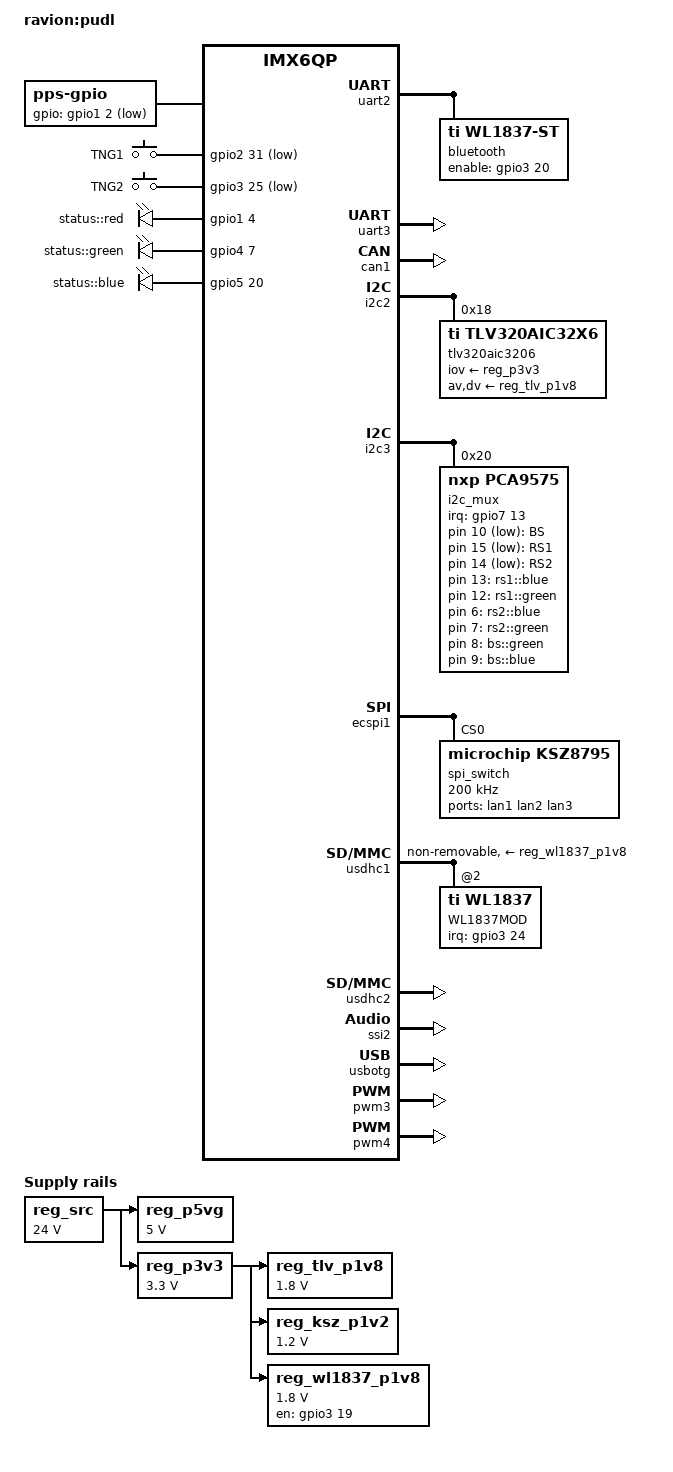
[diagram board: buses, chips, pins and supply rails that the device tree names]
/*
 * Copyright 2018 Radioavionica Corp.
 *
 * This program is free software; you can redistribute it and/or modify
 * it under the terms of the GNU General Public License version 2 as
 * published by the Free Software Foundation.
 *
 */

/*
 * [+] KSZ8795CLX drivers/net/phy/spi_ks8995.c
 * 	{ .compatible = "micrel,ksz8795" },
 * 	Documentation/devicetree/bindings/net/micrel-ks8995.txt
 * [+] WL1837
 * [+] LAN9514I-JZX USB
 * [+] MAX3245EETX uart1 uart3
 * [+] TLV320AIC3206
 *	"ti,tlv320aic32x4.yaml"
 *
 * [+] status led_red soDimm 188
 * [+] status led_green soDimm 190
 * [+] status led_blue soDomm 192
 * [+] soDimm 55 PPS
 * [+] soDimm 37 PTT1
 * [+] soDimm 29 PTT2 //fix keycode
 * [+] soDimm 27 BT_EN
 * [+] soDimm 25 WLAN_EN
 * [+] soDimm 23 WL_IRQ
 * soDimm 186 INT_Expander ????
 * soDimm 31 INT_Ether ????
 *
 * eth 187
 *
 */

/dts-v1/;
#include "imx6qp.dtsi"

#define SPI_CS_GPIO
#include "imx6qdl-ravion-v2.dtsi"

/ {
	model = "ravion:pudl";
	compatible = "ravion,imx6qp", "fsl,imx6qp";

	/*
	 * Device specific regulators
	 */
	reg_src: regulator-power { /* DA5 */
			compatible = "regulator-fixed";
			regulator-name = "BS_IN";
			// fix voltage
			regulator-min-microvolt = <24000000>;
			regulator-max-microvolt = <24000000>;
			regulator-boot-on;
			regulator-always-on;
	};

	reg_p5vg: regulator-p5v { /* DA4 */
			compatible = "regulator-fixed";
			regulator-name = "P5V";
			regulator-min-microvolt = <5000000>;
			regulator-max-microvolt = <5000000>;
			vin-supply = <&reg_src>;
			regulator-boot-on;
			regulator-always-on;
	};

	reg_p3v3: regulator-p3v3 { /* DA3 */
			compatible = "regulator-fixed";
			regulator-name = "P3V3";
			regulator-min-microvolt = <3300000>;
			regulator-max-microvolt = <3300000>;
			vin-supply = <&reg_src>;
			regulator-boot-on;
			regulator-always-on;
	};

	reg_tlv_p1v8: regulator-tlv { /* DA7 */
			compatible = "regulator-fixed";
			regulator-name = "TLV-P1V8";
			regulator-min-microvolt = <1800000>;
			regulator-max-microvolt = <1800000>;
			vin-supply = <&reg_p3v3>;
			regulator-boot-on;
			regulator-always-on;
	};

	reg_ksz_p1v2: regulator-ksz-p1v2 { /* DA8 */
			compatible = "regulator-fixed";
			regulator-name = "ksz-p1v2";
			regulator-min-microvolt = <1200000>;
			regulator-max-microvolt = <1200000>;
			vin-supply = <&reg_p3v3>;
			regulator-boot-on;
			regulator-always-on;
	};

	reg_wl1837_p1v8: regulator-wl1837-p1v8 { /* DA6 */
			compatible = "regulator-fixed";
			regulator-name = "wl1837-reg";
			regulator-min-microvolt = <1800000>;
			regulator-max-microvolt = <1800000>;
			vin-supply = <&reg_p3v3>;
			gpio = <&gpio3 19 GPIO_ACTIVE_HIGH>;	/* soDimm 25 */
			startup-delay-us = <70000>;
			enable-active-high;
	};

	sound-tlv320 {
		compatible = "fsl,imx-audio-tlv320aic32x4";
		model = "ravion-tlv320aic32x6";
		ssi-controller = <&ssi2>;
		audio-codec = <&tlv320aic3206>;
		audio-routing =
			"IN1_L", "Line In Jack",
			"IN1_R", "Line In Jack",
			"IN2_L", "Line In Jack",
			"IN2_R", "Line In Jack",
			"Headphone Jack", "HPL",
			"Headphone Jack", "HPR",
			"Line Out Jack", "LOL",
			"Line Out Jack", "LOR";
		mux-int-port = <2>;
		mux-ext-port = <5>;
	};

	pps {
		compatible = "pps-gpio";
		gpios	= <&gpio1  2 GPIO_ACTIVE_LOW>;		/* soDimm055 */
	};

	gpio-keys {
		compatible = "gpio-keys";

		PTT1 {
			label = "TNG1";
			gpios = <&gpio2 31 GPIO_ACTIVE_LOW>;	/* soDimm37 */
			linux,code = <KEY_F2>;
			debounce-interval = <100>;
			wakeup-source;
		};

		PTT2 {
			label = "TNG2";
			gpios = <&gpio3 25 GPIO_ACTIVE_LOW>;	/* soDimm29 */
			linux,code = <KEY_F10>; //fix keycode number
			debounce-interval = <100>;
			wakeup-source;
		};

//		button1 {
//			label = "BS";
//			gpios = <&i2c_mux 10 GPIO_ACTIVE_LOW>;
//			linux,code = <KEY_F17>;
//		};
//
//		button2 {
//			label = "RS1";
//			gpios = <&i2c_mux 15 GPIO_ACTIVE_LOW>;
//			linux,code = <KEY_F18>;
//		};
//
//		button3 {
//			label = "RS2";
//			gpios = <&i2c_mux 14 GPIO_ACTIVE_LOW>;
//			linux,code = <KEY_F19>;
//		};
	};

	gpio-keys-front-panel { //TODO: make interrupts work
		compatible = "gpio-keys-polled";
		poll-interval = <100>;
		button1 {
			label = "BS";
			gpios = <&i2c_mux 10 GPIO_ACTIVE_LOW>;
			linux,code = <KEY_F17>;
		};

		button2 {
			label = "RS1";
			gpios = <&i2c_mux 15 GPIO_ACTIVE_LOW>;
			linux,code = <KEY_F18>;
		};

		button3 {
			label = "RS2";
			gpios = <&i2c_mux 14 GPIO_ACTIVE_LOW>;
			linux,code = <KEY_F19>;
		};
	};

	gpio-leds {
		compatible = "gpio-leds";

		LED1 {
			label = "rs1::blue";
			gpios = <&i2c_mux 13 GPIO_ACTIVE_HIGH>;
			default-stat = "off";
		};

		LED2 {
			label = "rs1::green";
			gpios = <&i2c_mux 12 GPIO_ACTIVE_HIGH>;
			default-stat = "off";
		};

		LED3 {
			label = "rs2::blue";
			gpios = <&i2c_mux 6 GPIO_ACTIVE_HIGH>;
			default-stat = "off";
		};

		LED4 {
			label = "rs2::green";
			gpios = <&i2c_mux 7 GPIO_ACTIVE_HIGH>;
			default-stat = "off";
		};

		LED5 {
			label = "bs::green";
			gpios = <&i2c_mux 8 GPIO_ACTIVE_HIGH>;
			default-stat = "off";
		};

		LED6 {
			label = "bs::blue";
			gpios = <&i2c_mux 9 GPIO_ACTIVE_HIGH>;
			default-stat = "off";
		};

		status_red {
			label = "status::red";
			gpios = <&gpio1 4 GPIO_ACTIVE_HIGH>;	/* soDimm188 */
			default-state = "off";
		};

		status_green {
			label = "status::green";
			gpios = <&gpio4 7 GPIO_ACTIVE_HIGH>;	/* soDimm190 */
			default-state = "off";
		};

		status_blue {
			label = "status::blue";
			linux,default-trigger = "heartbeat";
			gpios = <&gpio5 20 GPIO_ACTIVE_HIGH>;	/* soDimm192 */
			default-state = "on";
		};
	};
};

/*
 * Serial ports
 */
/* &uart1 {	status = "okay";	}; => Allways enabled */
&uart2 {
	uart-has-rtscts;
	status = "okay";

	bluetooth {
		enable-gpios = <&gpio3 20 GPIO_ACTIVE_HIGH>;	/* soDimm 027 */
		compatible = "ti,wl1837-st";
		clocks = <&clk_32k_bt 0>;
		clock-names = "ext_clock";
		max-speed = <3686400>;
		current-speed = <115200>;
		status = "okay";

		clk_32k_bt: bt_clk {
			compatible = "fixed-clock";
			#clock-cells = <0>;
			clock-frequency = <32768>;
			clock-accuracy = <100>;
		};
	};
};

&uart3 {
	status = "okay";
};

/*
 * Controller Area Network (CAN) Bus
 */
&can1 {
	status = "okay";
};

/*
 * I2C Busses
 */
&i2c2 {	/* Compatible I2C: soDimm 194, 196 */
	status = "okay";

	/* ext codec */
	#address-cells = <1>;
	#size-cells = <0>;
	tlv320aic3206: codec@18 {
		compatible = "ti,tlv320aic32x6";
		reg = <0x18>;
		pinctrl-names = "default";
		pinctrl-0 = <&pinctrl_ext_aud5>, <&pinctrl_clkext>;
		iov-supply = <&reg_p3v3>;
		av-supply = <&reg_tlv_p1v8>;
		dv-supply = <&reg_tlv_p1v8>;
//		reset-gpios = <>; /* Not connected */
		clocks = <&clks IMX6QDL_CLK_CKO2>; /* soDimm 137 */
		clock-names = "mclk";
	};
};

&i2c3 { /* Extended I2C: soDimm 128, 130 */
	status = "okay";

	#address-cells = <1>;
	#size-cells = <0>;
	i2c_mux: pca9575@20 {
		compatible = "nxp,pca9575";
		reg = <0x20>;
		pinctrl-names = "default";
		/* pinctrl-0 = <&pinctrl_hog>; */
		gpio-controller;
		#gpio-cells = <2>;
		interrupt-parent = <&gpio7>;
		interrupts = <13 IRQ_TYPE_EDGE_FALLING>; /*sodimm 186 */
		interrupt-controller;
		#interrupt-cells = <2>;
		//sw-gpios = <&i2c_mux 10 0>;
		gpio-line-names =
			"__unused_p00", "__unused_p01", "__unused_p02", "__unused_p03",
			"__unused_p04", "__unused_p05", "led3", "led4",
			"led5", "led6", "button1", "__unused_p13",
			"led2", "led1", "button3", "button2";
	};
};

&ecspi1 {
	/delete-property/dmas;
	/delete-property/dma-names;

	status = "okay";
	spi_switch: ksz8795clx@0 {
		compatible = "microchip,ksz8795";
		reg = <0>;

		spi-max-frequency = <200000>;
		spi_cpha;
		//spi-cpol;
//		reset-gpios = <>; /* Not connected */

		ports {
			#address-cells = <1>;
			#size-cells = <0>;
			port@0 {
				reg = <0>;
				label = "lan1";
			};
			port@1 {
				reg = <1>;
				label = "lan2";
			};
			port@2 {
				reg = <2>;
				label = "lan3";
			};
		};
	};
};

&mipi_csi {
	status = "disabled";
};

/*
 * SD/MMC and eMMC controllers
 */
&usdhc1 {				   /* externed - WiFi module */
	keep-power-in-suspend;
	cap-power-off-card;
	non-removable;
	max-frequency = <25000000>;
	status = "okay";
	vmmc-supply = <&reg_wl1837_p1v8>;
	#address-cells = <1>;
	#size-cells = <0>;

	WL1837MOD: wlcore@2 {
		compatible = "ti,wl1837";
		reg = <2>;
		interrupt-parent = <&gpio3>;
		interrupts = <24 IRQ_TYPE_LEVEL_HIGH>;	/* soDim023 */
		tcxo-clock-frequency = <26000000>;
	};
};
&usdhc2 {	status = "okay";	}; /* compatible */
/* &usdhc3 {	status = "okay";	}; => eMMC allways enabled */

/*
 * Ethernet controller
 */
/* &fec {	status = "okay";	}; => eth0 allways enabled */

/*
 * Audio (digital part)
 */
/* &audmux {	status = "okay";	}; => Allways enabled */
&sgtl5000 {	status = "disabled";	};
&module_sound {	status = "disabled";	};
&ssi1	{	status = "disabled";	};
&ssi2 	{	status = "okay";	}; /* for external codec */

/* &usbh1  {	status = "okay";	}; HOST => Allways enabled */

&usbotg	{ /* OTG */
	status = "okay";
};

/*
 * PWMs
 */
&pwm3	{	status = "okay";	};
&pwm4	{	status = "okay";	};

&iomuxc {
	pinctrl-names = "default";
	pinctrl-0 = <&pinctrl_hog>, <&pinctrl_uart1gpio>;
};
